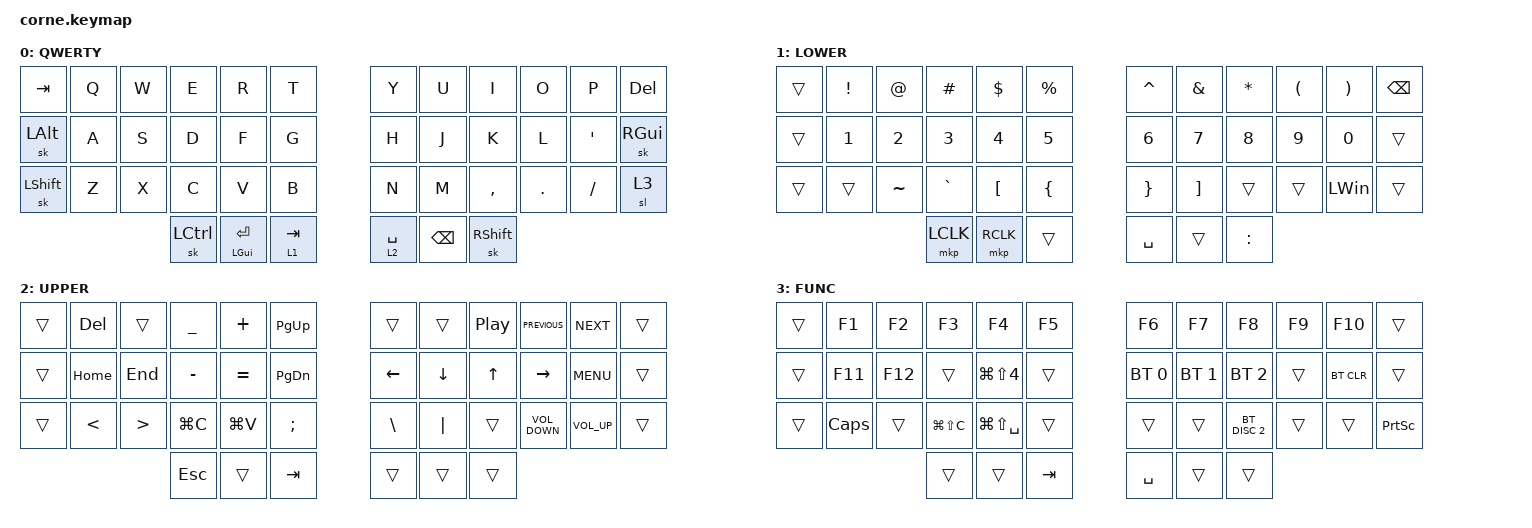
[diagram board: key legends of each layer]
/*
 * Copyright (c) 2020 The ZMK Contributors
 *
 * SPDX-License-Identifier: MIT
 */

#include <dt-bindings/zmk/mouse.h>
#include <behaviors.dtsi>
#include <dt-bindings/zmk/bt.h>
#include <dt-bindings/zmk/keys.h>
#include <dt-bindings/zmk/pointing.h>

/ {
    combos {
        compatible = "zmk,combos";

        combo_esc {
            bindings = <&kp ESC>;
            key-positions = <19 20>;
            timeout-ms = <50>;
            layers = <0>;
        };
    };

    keymap {
        compatible = "zmk,keymap";

        qwerty {
            display-name = "QWERTY";
            bindings = <
&kp TAB    &kp Q  &kp W  &kp E      &kp R               &kp T        &kp Y        &kp U          &kp I            &kp O    &kp P             &kp DELETE
&sk LALT   &kp A  &kp S  &kp D      &kp F               &kp G        &kp H        &kp J          &kp K            &kp L    &kp SINGLE_QUOTE  &sk RIGHT_GUI
&sk LSHFT  &kp Z  &kp X  &kp C      &kp V               &kp B        &kp N        &kp M          &kp COMMA        &kp DOT  &kp FSLH          &sl 3
                         &sk LCTRL  &mt LEFT_GUI ENTER  &lt 1 TAB    &lt 2 SPACE  &kp BACKSPACE  &sk RIGHT_SHIFT
            >;
        };

        lower {
            display-name = "LOWER";
            bindings = <
&trans  &kp EXCLAMATION  &kp AT_SIGN   &kp POUND     &kp DOLLAR        &kp PERCENT       &kp CARET        &kp AMPERSAND      &kp ASTERISK  &kp LEFT_PARENTHESIS  &kp RIGHT_PARENTHESIS  &kp BSPC
&trans  &kp NUMBER_1     &kp NUMBER_2  &kp NUMBER_3  &kp NUMBER_4      &kp NUMBER_5      &kp NUMBER_6     &kp NUMBER_7       &kp NUMBER_8  &kp NUMBER_9          &kp NUMBER_0           &trans
&trans  &trans           &kp TILDE     &kp GRAVE     &kp LEFT_BRACKET  &kp LEFT_BRACE    &kp RIGHT_BRACE  &kp RIGHT_BRACKET  &trans        &trans                &kp LEFT_WIN           &trans
                                       &mkp LCLK     &mkp RCLK         &trans            &kp SPACE        &trans             &kp COLON
            >;
        };

        upper {
            display-name = "UPPER";
            bindings = <
&trans  &kp DELETE     &trans            &kp UNDERSCORE  &kp PLUS   &kp PAGE_UP      &trans         &trans    &kp C_PLAY_PAUSE  &kp C_PREVIOUS     &kp C_NEXT       &trans
&trans  &kp HOME       &kp END           &kp MINUS       &kp EQUAL  &kp PAGE_DOWN    &kp LEFT       &kp DOWN  &kp UP_ARROW      &kp RIGHT          &kp K_MENU       &trans
&trans  &kp LESS_THAN  &kp GREATER_THAN  &kp LG(C)       &kp LG(V)  &kp SEMICOLON    &kp BACKSLASH  &kp PIPE  &trans            &kp C_VOLUME_DOWN  &kp C_VOLUME_UP  &trans
                                         &kp ESCAPE      &trans     &kp TAB          &trans         &trans    &trans
            >;
        };

        function {
            display-name = "FUNC";
            bindings = <
&trans  &kp F1    &kp F2   &kp F3         &kp F4                &kp F5     &kp F6        &kp F7        &kp F8         &kp F9  &kp F10     &trans
&trans  &kp F11   &kp F12  &trans         &kp LG(LS(NUMBER_4))  &trans     &bt BT_SEL 0  &bt BT_SEL 1  &bt BT_SEL 2   &trans  &bt BT_CLR  &trans
&trans  &kp CAPS  &trans   &kp LG(LS(C))  &kp LG(LS(SPACE))     &trans     &trans        &trans        &bt BT_DISC 2  &trans  &trans      &kp PRINTSCREEN
                           &trans         &trans                &kp TAB    &kp SPACE     &trans        &trans
            >;
        };
    };
};
